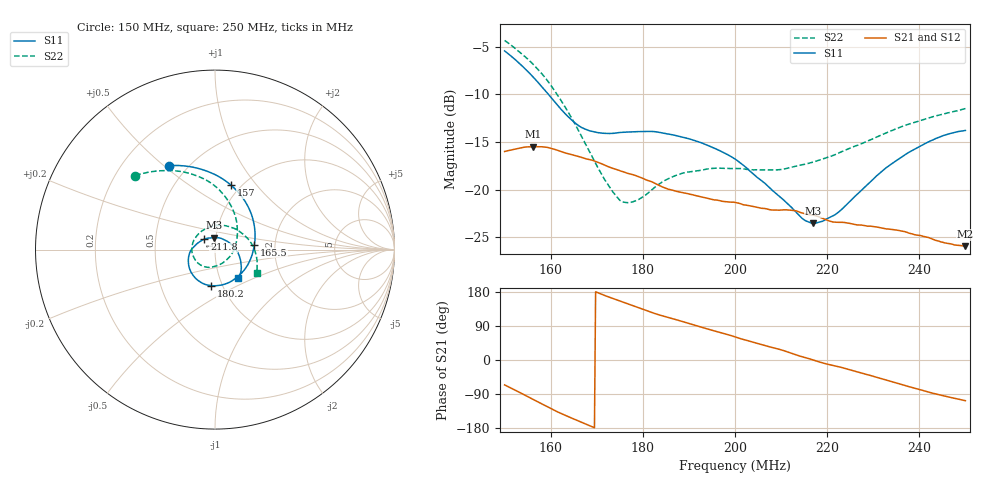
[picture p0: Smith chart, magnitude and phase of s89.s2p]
# Hz S MA R 50
! Planar, Obzor-304, 08125003, 3.51/02
! Äàòà: 26.03.2019 11:31:57
! ×àñòîòà  S11: Mag/Ang (F2)  S21: Mag/Ang (F2)  S12: Mag/Ang (F2)  S22: Mag/Ang (F2)
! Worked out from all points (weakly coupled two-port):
!   401 points, 150 MHz to 250 MHz, reference 50 ohm
!   highest |S21| = -15.50 dB at 156.2 MHz (marker M1); lowest = -25.9 dB at 250 MHz (marker M2)
!   lowest |S11| = -23.5 dB at 217 MHz (marker M3), VSWR 1.14, Z = 49.1 + j6.57 ohm
!   |S11| at or under -10 dB: 159.5 MHz to end of sweep
!   |S22| runs from -21.4 to -4.4 dB; largest |S21 - S12| = 0.00099
!   S11 on the Smith chart (normalised r, x): 150 MHz: 0.40, +0.52; 157 MHz: 0.90, +0.75; 165.5 MHz: 1.56, +0.09; 180.2 MHz: 0.88, -0.37; 211.8 MHz: 0.88, +0.10; 250 MHz: 1.22, -0.41
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1.5e8  0.5338 118.8  0.1584 -65.7  0.1588 -65.4  0.6054 137.2
1.53e8  0.4638 102.2  0.1645 -83.9  0.165 -84.0  0.5324 124.4
1.5625e8  0.388 81.5  0.1679 -104.5  0.1681 -104.4  0.4523 109.4
1.57e8  0.3708 76.3  0.1679 -109.1  0.168 -109.1  0.4329 105.7
1.61e8  0.2859 45.6  0.1623 -134.0  0.1623 -133.8  0.3258 84.4
1.655e8  0.2216 7.3  0.1505 -158.2  0.1505 -158.0  0.2157 58.1
1.6675e8  0.2114 -3.6  0.1473 -164.7  0.1474 -164.5  0.189 49.8
1.715e8  0.1974 -42.9  0.135 171.2  0.1349 171.4  0.1151 9.9
1.75e8  0.1993 -67.1  0.1257 155.6  0.1261 155.8  0.088 -32.2
1.7725e8  0.2007 -80.6  0.1208 145.9  0.1212 146.1  0.08561 -59.0
1.8025e8  0.2018 -96.3  0.1138 132.5  0.1143 132.6  0.09235 -88.5
1.835e8  0.1998 -111.2  0.1053 119.2  0.1056 119.2  0.1068 -112.8
1.9125e8  0.1807 -139.4  0.09331 91.9  0.09333 91.8  0.1248 -156.4
2e8  0.1447 -170.7  0.08569 61.1  0.08569 61.2  0.1291 162.4
2.1175e8  0.08287 135.0  0.07815 20.0  0.07811 20.1  0.1302 103.6
2.1475e8  0.07016 112.2  0.0752 8.0  0.0751 8.1  0.1352 87.8
2.1675e8  0.06673 95.7  0.07365 1.0  0.07355 1.2  0.1389 77.6
2.17e8  0.06668 93.6  0.0735 -0.1  0.0734 0.2  0.1395 76.5
2.2225e8  0.07545 46.1  0.0674 -16.9  0.06745 -16.6  0.1546 52.8
2.335e8  0.1338 -11.0  0.06204 -55.0  0.06224 -54.7  0.2014 12.3
2.42e8  0.1781 -34.5  0.05608 -84.7  0.05658 -84.7  0.2374 -11.4
2.5e8  0.2043 -51.4  0.05052 -107.4  0.0508 -107.9  0.2661 -29.1
